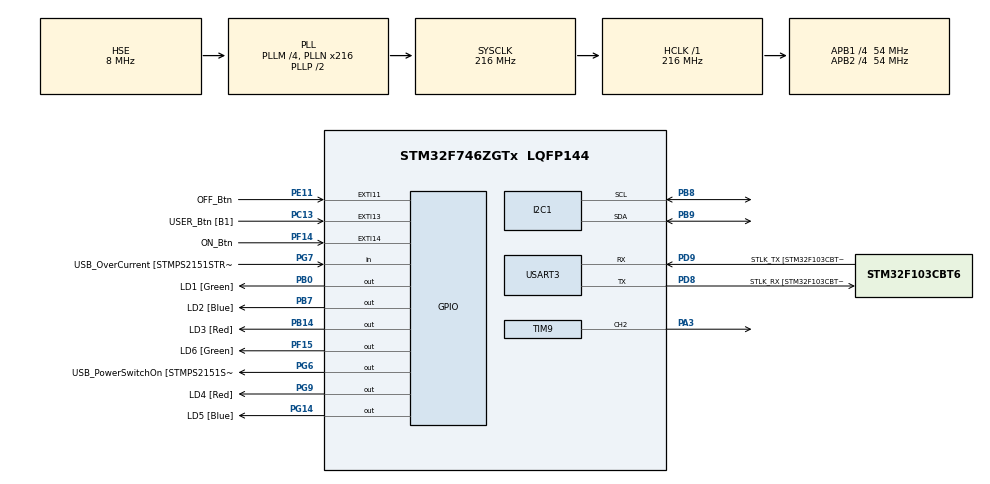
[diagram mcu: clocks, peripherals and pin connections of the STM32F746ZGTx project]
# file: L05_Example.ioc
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I2C1.Timing=0x20404768
Mcu.Family=STM32F7
Mcu.Name=STM32F746ZGTx
Mcu.Package=LQFP144
NVIC.PriorityGroup=NVIC_PRIORITYGROUP_4
NVIC.TIM7_IRQn=true\:0\:0\:false\:false\:true\:true\:true\:true
NVIC.USART3_IRQn=true\:0\:0\:false\:false\:true\:true\:true\:true
PA1.GPIO_Label=RMII_REF_CLK [LAN8742A-CZ-TR_REFCLK0]
PA1.Signal=ETH_REF_CLK
PA10.GPIO_Label=USB_ID
PA10.Signal=USB_OTG_FS_ID
PA11.GPIO_Label=USB_DM
PA11.Signal=USB_OTG_FS_DM
PA12.GPIO_Label=USB_DP
PA12.Signal=USB_OTG_FS_DP
PA13.GPIO_Label=TMS
PA13.Mode=Serial_Wire
PA13.Signal=SYS_JTMS-SWDIO
PA14.GPIO_Label=TCK
PA14.Mode=Serial_Wire
PA14.Signal=SYS_JTCK-SWCLK
PA2.GPIO_Label=RMII_MDIO [LAN8742A-CZ-TR_MDIO]
PA2.Signal=ETH_MDIO
PA3.GPIO_PuPd=GPIO_PULLDOWN
PA3.Signal=S_TIM9_CH2
PA7.GPIO_Label=RMII_CRS_DV [LAN8742A-CZ-TR_CRS_DV]
PA7.Signal=ETH_CRS_DV
PA8.GPIO_Label=USB_SOF [TP1]
PA8.Signal=USB_OTG_FS_SOF
PA9.GPIO_Label=USB_VBUS
PA9.Signal=USB_OTG_FS_VBUS
PB0.GPIO_Label=LD1 [Green]
PB0.Signal=GPIO_Output
PB13.GPIO_Label=RMII_TXD1 [LAN8742A-CZ-TR_TXD1]
PB13.Signal=ETH_TXD1
PB14.GPIO_Label=LD3 [Red]
PB14.Signal=GPIO_Output
PB3.GPIO_Label=SW0
PB3.Signal=SYS_JTDO-SWO
PB7.GPIO_Label=LD2 [Blue]
PB7.Signal=GPIO_Output
PB8.Mode=I2C
PB8.Signal=I2C1_SCL
PB9.Mode=I2C
PB9.Signal=I2C1_SDA
PC1.GPIO_Label=RMII_MDC [LAN8742A-CZ-TR_MDC]
PC1.Signal=ETH_MDC
PC13.GPIO_Label=USER_Btn [B1]
PC13.Signal=GPXTI13
PC14/OSC32_IN.Mode=LSE-External-Oscillator
PC14/OSC32_IN.Signal=RCC_OSC32_IN
PC15/OSC32_OUT.Mode=LSE-External-Oscillator
PC15/OSC32_OUT.Signal=RCC_OSC32_OUT
PC4.GPIO_Label=RMII_RXD0 [LAN8742A-CZ-TR_RXD0]
PC4.Signal=ETH_RXD0
PC5.GPIO_Label=RMII_RXD1 [LAN8742A-CZ-TR_RXD1]
PC5.Signal=ETH_RXD1
PD8.GPIO_Label=STLK_RX [STM32F103CBT6_PA3]
PD8.GPIO_PuPd=GPIO_PULLUP
PD8.Mode=Asynchronous
PD8.Signal=USART3_TX
PD9.GPIO_Label=STLK_TX [STM32F103CBT6_PA2]
PD9.GPIO_PuPd=GPIO_PULLUP
PD9.Mode=Asynchronous
PD9.Signal=USART3_RX
PE11.GPIO_Label=OFF_Btn
PE11.GPIO_PuPd=GPIO_PULLDOWN
PE11.Signal=GPXTI11
PF14.GPIO_Label=ON_Btn
PF14.GPIO_ModeDefaultEXTI=GPIO_MODE_IT_FALLING
PF14.GPIO_PuPd=GPIO_PULLUP
PF14.Signal=GPXTI14
PF15.GPIO_Label=LD6 [Green]
PF15.Signal=GPIO_Output
PG11.GPIO_Label=RMII_TX_EN [LAN8742A-CZ-TR_TXEN]
PG11.Signal=ETH_TX_EN
PG13.GPIO_Label=RMII_TXD0 [LAN8742A-CZ-TR_TXD0]
PG13.Signal=ETH_TXD0
PG14.GPIO_Label=LD5 [Blue]
PG14.Signal=GPIO_Output
PG6.GPIO_Label=USB_PowerSwitchOn [STMPS2151STR_EN]
PG6.Signal=GPIO_Output
PG7.GPIO_Label=USB_OverCurrent [STMPS2151STR_FAULT]
PG7.Signal=GPIO_Input
PG9.GPIO_Label=LD4 [Red]
PG9.Signal=GPIO_Output
PH0/OSC_IN.GPIO_Label=MCO [STM32F103CBT6_PA8]
PH0/OSC_IN.Mode=HSE-External-Clock-Source
PH0/OSC_IN.Signal=RCC_OSC_IN
PH1/OSC_OUT.Mode=HSE-External-Clock-Source
PH1/OSC_OUT.Signal=RCC_OSC_OUT
ProjectManager.HeapSize=0x200
ProjectManager.StackSize=0x400
ProjectManager.TargetToolchain=STM32CubeIDE
RCC.48MHZClocksFreq_Value=24000000
RCC.AHBFreq_Value=216000000
RCC.APB1CLKDivider=RCC_HCLK_DIV4
RCC.APB1Freq_Value=54000000
RCC.APB1TimFreq_Value=108000000
RCC.APB2CLKDivider=RCC_HCLK_DIV4
RCC.APB2Freq_Value=54000000
RCC.APB2TimFreq_Value=108000000
RCC.CortexFreq_Value=216000000
RCC.HCLKFreq_Value=216000000
RCC.HSE_VALUE=8000000
RCC.HSI_VALUE=16000000
RCC.PLLM=4
RCC.PLLMUL=RCC_PLL_MUL9
RCC.PLLN=216
RCC.PLLQ=3
RCC.PLLSourceVirtual=RCC_PLLSOURCE_HSE
RCC.PRESCALERUSB=RCC_USBCLKSOURCE_PLL_DIV1_5
RCC.SYSCLKFreq_VALUE=216000000
RCC.SYSCLKSource=RCC_SYSCLKSOURCE_PLLCLK
RCC.SYSCLKSourceVirtual=RCC_SYSCLKSOURCE_PLLCLK
RCC.USBFreq_Value=144000000
RCC.VCOOutputFreq_Value=432000000
SH.S_TIM9_CH2.0=TIM9_CH2,PWM Generation2 CH2
TIM7.Period=19999
TIM7.Prescaler=1079
TIM9.Channel-PWM\ Generation2\ CH2=TIM_CHANNEL_2
TIM9.Period=999
TIM9.Prescaler=107
USART3.VirtualMode-Asynchronous=VM_ASYNC
VP_TIM7_VS_ClockSourceINT.Mode=Enable_Timer
VP_TIM9_VS_ClockSourceINT.Mode=Internal
board=NUCLEO-F746ZG

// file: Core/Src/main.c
/* USER CODE BEGIN Header */
/**
  ******************************************************************************
  * @file           : main.c
  * @brief          : Main program body
  ******************************************************************************
  * @attention
  *
  * Copyright (c) 2023 STMicroelectronics.
  * All rights reserved.
  *
  * This software is licensed under terms that can be found in the LICENSE file
  * in the root directory of this software component.
  * If no LICENSE file comes with this software, it is provided AS-IS.
  *
  ******************************************************************************
  */
/* USER CODE END Header */
#include "main.h"
#include "i2c.h"
#include "tim.h"
#include "usart.h"
#include "gpio.h"

/* USER CODE BEGIN Includes */
#include <stdio.h>
#include <stdlib.h>
#include <string.h>
#include "bh1750_config.h"
#include "led_config.h"
/* USER CODE END Includes */

/* USER CODE BEGIN PV */
float Illuminance_lux = 0.0f;
unsigned int Illuminance_lux_Int = 0;

uint8_t tx_buffer[8];
const int tx_msg_len = 4;
/* USER CODE END PV */

void SystemClock_Config(void);

/* USER CODE BEGIN 0 */
/**
  * @brief  Period elapsed callback in non-blocking mode
  * @param  htim TIM handle
  * @retval None
  */
void HAL_TIM_PeriodElapsedCallback(TIM_HandleTypeDef *htim)
{
  if(htim == &htim7)
  {
    static unsigned int cnt = 0;
    cnt++;
    Illuminance_lux = BH1750_ReadIlluminance_lux(&hbh1750);
    Illuminance_lux_Int = Illuminance_lux * 1000.0f;
  }
}

/**
  * @brief  Rx Transfer completed callback.
  * @param  huart UART handle.
  * @retval None
  */
void HAL_UART_RxCpltCallback(UART_HandleTypeDef *huart)
{
  if(huart == &huart3)
  {
    if(tx_buffer[0] == 'd' || tx_buffer[0] == 'D')
    {
      int duty_cycle = strtol((char*)&tx_buffer[1], 0, 10);
      LED_PWM_WriteDuty(&hld1, duty_cycle);
      HAL_UART_Receive_IT(&huart3, tx_buffer, tx_msg_len);
    }
    if(strcmp((char*)tx_buffer, "read") == 0)
    {
      uint8_t tx_buffer[32];
      int tx_msg_len = sprintf((char*)tx_buffer, "%05u.%03u\r", Illuminance_lux_Int / 1000, Illuminance_lux_Int % 1000);
      HAL_UART_Transmit(&huart3, tx_buffer, tx_msg_len, 100);
    }
    HAL_UART_Receive_IT(&huart3, tx_buffer, tx_msg_len);
  }
}

/* USER CODE END 0 */

int main(void)
{

  /* MCU Configuration--------------------------------------------------------*/

  /* Reset of all peripherals, Initializes the Flash interface and the Systick. */
  HAL_Init();

  /* Configure the system clock */
  SystemClock_Config();

  /* Initialize all configured peripherals */
  MX_GPIO_Init();
  MX_USART3_UART_Init();
  MX_I2C1_Init();
  MX_TIM9_Init();
  MX_TIM7_Init();
  /* USER CODE BEGIN 2 */
  BH1750_Init(&hbh1750);
  LED_PWM_Init(&hld1);
  HAL_TIM_Base_Start_IT(&htim7);
  HAL_UART_Receive_IT(&huart3, tx_buffer, tx_msg_len);
  /* USER CODE END 2 */

  /* Infinite loop */
  while (1)
  {

  }
}

void SystemClock_Config(void)
{
  RCC_OscInitTypeDef RCC_OscInitStruct = {0};
  RCC_ClkInitTypeDef RCC_ClkInitStruct = {0};

  /** Configure LSE Drive Capability
  */
  HAL_PWR_EnableBkUpAccess();

  /** Configure the main internal regulator output voltage
  */
  __HAL_RCC_PWR_CLK_ENABLE();
  __HAL_PWR_VOLTAGESCALING_CONFIG(PWR_REGULATOR_VOLTAGE_SCALE1);

  /** Initializes the RCC Oscillators according to the specified parameters
  * in the RCC_OscInitTypeDef structure.
  */
  RCC_OscInitStruct.OscillatorType = RCC_OSCILLATORTYPE_HSE;
  RCC_OscInitStruct.HSEState = RCC_HSE_BYPASS;
  RCC_OscInitStruct.PLL.PLLState = RCC_PLL_ON;
  RCC_OscInitStruct.PLL.PLLSource = RCC_PLLSOURCE_HSE;
  RCC_OscInitStruct.PLL.PLLM = 4;
  RCC_OscInitStruct.PLL.PLLN = 216;
  RCC_OscInitStruct.PLL.PLLP = RCC_PLLP_DIV2;
  RCC_OscInitStruct.PLL.PLLQ = 3;
  if (HAL_RCC_OscConfig(&RCC_OscInitStruct) != HAL_OK)
  {
    Error_Handler();
  }

  /** Activate the Over-Drive mode
  */
  if (HAL_PWREx_EnableOverDrive() != HAL_OK)
  {
    Error_Handler();
  }

  /** Initializes the CPU, AHB and APB buses clocks
  */
  RCC_ClkInitStruct.ClockType = RCC_CLOCKTYPE_HCLK|RCC_CLOCKTYPE_SYSCLK
                              |RCC_CLOCKTYPE_PCLK1|RCC_CLOCKTYPE_PCLK2;
  RCC_ClkInitStruct.SYSCLKSource = RCC_SYSCLKSOURCE_PLLCLK;
  RCC_ClkInitStruct.AHBCLKDivider = RCC_SYSCLK_DIV1;
  RCC_ClkInitStruct.APB1CLKDivider = RCC_HCLK_DIV4;
  RCC_ClkInitStruct.APB2CLKDivider = RCC_HCLK_DIV4;

  if (HAL_RCC_ClockConfig(&RCC_ClkInitStruct, FLASH_LATENCY_7) != HAL_OK)
  {
    Error_Handler();
  }
}

void Error_Handler(void)
{
  __disable_irq();
  while (1)
  {
  }
}
